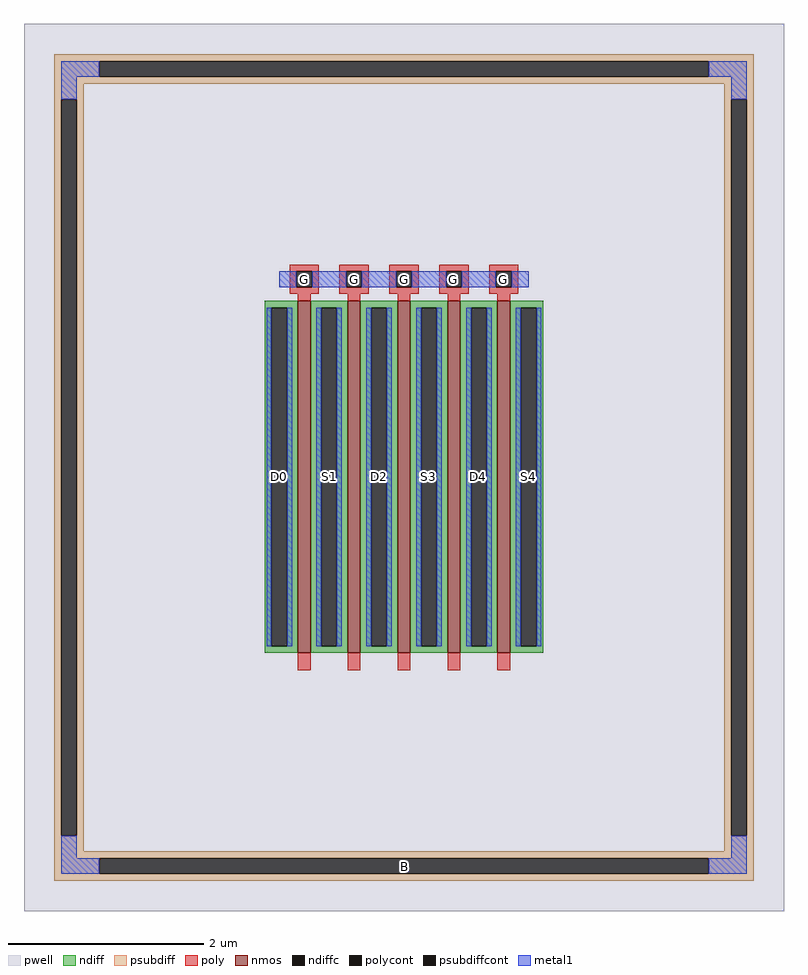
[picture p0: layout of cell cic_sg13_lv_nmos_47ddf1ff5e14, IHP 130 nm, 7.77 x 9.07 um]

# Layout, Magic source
magic
tech ihp-sg13cmos5l
magscale 1 2
<< pwell >>
rect -777 -907 777 907
<< nmos >>
rect -217 -379 -191 341
rect -115 -379 -89 341
rect -13 -379 13 341
rect 89 -379 115 341
rect 191 -379 217 341
<< ndiff >>
rect -285 327 -217 341
rect -285 -365 -271 327
rect -239 -365 -217 327
rect -285 -379 -217 -365
rect -191 327 -115 341
rect -191 -365 -169 327
rect -137 -365 -115 327
rect -191 -379 -115 -365
rect -89 327 -13 341
rect -89 -365 -67 327
rect -35 -365 -13 327
rect -89 -379 -13 -365
rect 13 327 89 341
rect 13 -365 35 327
rect 67 -365 89 327
rect 13 -379 89 -365
rect 115 327 191 341
rect 115 -365 137 327
rect 169 -365 191 327
rect 115 -379 191 -365
rect 217 327 285 341
rect 217 -365 239 327
rect 271 -365 285 327
rect 217 -379 285 -365
<< ndiffc >>
rect -271 -365 -239 327
rect -169 -365 -137 327
rect -67 -365 -35 327
rect 35 -365 67 327
rect 137 -365 169 327
rect 239 -365 271 327
<< psubdiff >>
rect -715 831 715 845
rect -715 799 -623 831
rect 623 799 715 831
rect -715 785 715 799
rect -715 753 -655 785
rect -715 -753 -701 753
rect -669 -753 -655 753
rect 655 753 715 785
rect -715 -785 -655 -753
rect 655 -753 669 753
rect 701 -753 715 753
rect 655 -785 715 -753
rect -715 -799 715 -785
rect -715 -831 -623 -799
rect 623 -831 715 -799
rect -715 -845 715 -831
<< psubdiffcont >>
rect -623 799 623 831
rect -701 -753 -669 753
rect 669 -753 701 753
rect -623 -831 623 -799
<< poly >>
rect -234 401 -174 415
rect -234 369 -220 401
rect -188 369 -174 401
rect -234 355 -174 369
rect -132 401 -72 415
rect -132 369 -118 401
rect -86 369 -72 401
rect -132 355 -72 369
rect -30 401 30 415
rect -30 369 -16 401
rect 16 369 30 401
rect -30 355 30 369
rect 72 401 132 415
rect 72 369 86 401
rect 118 369 132 401
rect 72 355 132 369
rect 174 401 234 415
rect 174 369 188 401
rect 220 369 234 401
rect 174 355 234 369
rect -217 341 -191 355
rect -115 341 -89 355
rect -13 341 13 355
rect 89 341 115 355
rect 191 341 217 355
rect -217 -415 -191 -379
rect -115 -415 -89 -379
rect -13 -415 13 -379
rect 89 -415 115 -379
rect 191 -415 217 -379
<< polycont >>
rect -220 369 -188 401
rect -118 369 -86 401
rect -16 369 16 401
rect 86 369 118 401
rect 188 369 220 401
<< metal1 >>
rect -701 799 -623 831
rect 623 799 701 831
rect -701 753 -669 799
rect 669 753 701 799
rect -255 369 -220 401
rect -188 369 -118 401
rect -86 369 -16 401
rect 16 369 86 401
rect 118 369 188 401
rect 220 369 255 401
rect -281 -365 -271 327
rect -239 -365 -229 327
rect -179 -365 -169 327
rect -137 -365 -127 327
rect -77 -365 -67 327
rect -35 -365 -25 327
rect 25 -365 35 327
rect 67 -365 77 327
rect 127 -365 137 327
rect 169 -365 179 327
rect 229 -365 239 327
rect 271 -365 281 327
rect -701 -799 -669 -753
rect 669 -799 701 -753
rect -701 -831 -623 -799
rect 623 -831 701 -799
<< labels >>
rlabel psubdiffcont 0 -815 0 -815 0 B
port 1 nsew
rlabel ndiffc -255 -19 -255 -19 0 D0
port 2 nsew
rlabel polycont -204 385 -204 385 0 G
port 3 nsew
rlabel ndiffc -153 -19 -153 -19 0 S1
port 4 nsew
rlabel polycont -102 385 -102 385 0 G
port 3 nsew
rlabel ndiffc -51 -19 -51 -19 0 D2
port 5 nsew
rlabel polycont 0 385 0 385 0 G
port 3 nsew
rlabel ndiffc 51 -19 51 -19 0 S3
port 6 nsew
rlabel polycont 102 385 102 385 0 G
port 3 nsew
rlabel ndiffc 153 -19 153 -19 0 D4
port 7 nsew
rlabel ndiffc 255 -19 255 -19 0 S4
port 8 nsew
rlabel polycont 204 385 204 385 0 G
port 3 nsew
<< properties >>
string FIXED_BBOX -685 -815 685 815
string gencell sg13_lv_nmos
string library sg13cmos5l
string parameters w 3.6 l 0.13 m 1 ng 5 diffcov 100 polycov 100 guard 1 glc 1 grc 1 gtc 1 gbc 1 tbcov 100 rlcov 100 topc 1 botc 0 poverlap 0 doverlap 1 lmin 0.13 wmin 0.15 class mosfet compatible {sg13_lv_nmos sg13_hv_nmos} full_metal 1 conn_gates 1 gate_ring 0 doports 1 viasrc 0 viadrn 0 viagate 0 ccols 1 viagb 0 viagr 0 viagl 0 viagt 0 set_x_to_guard 2.0 set_y_to_guard 2.0
<< end >>
